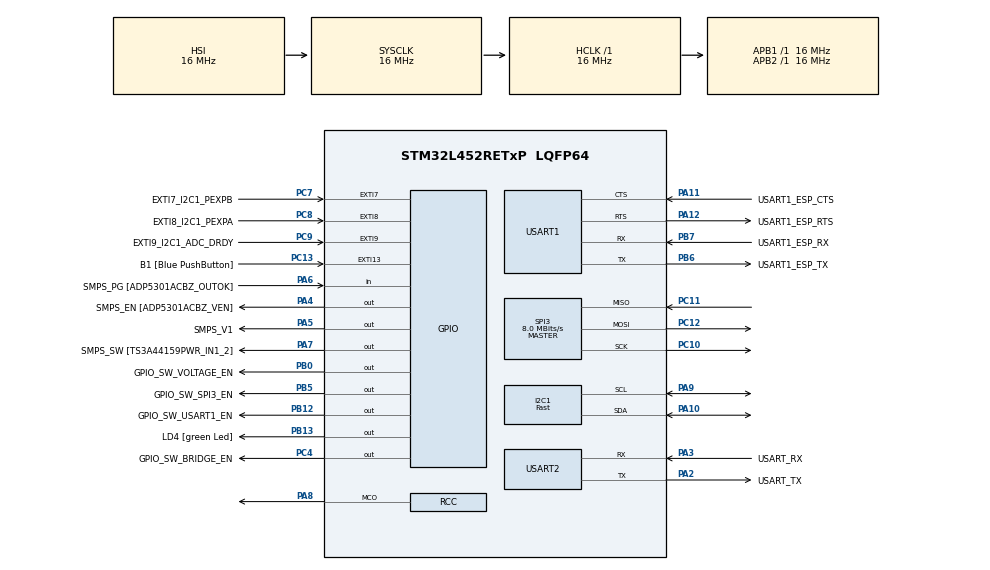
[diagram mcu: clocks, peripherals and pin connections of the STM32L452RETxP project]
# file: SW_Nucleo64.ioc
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FREERTOS.INCLUDE_uxTaskPriorityGet=0
FREERTOS.INCLUDE_vTaskDelayUntil=1
FREERTOS.INCLUDE_vTaskDelete=0
FREERTOS.Tasks01=defaultTask,0,128,StartDefaultTask,Default,NULL
FREERTOS.configENABLE_BACKWARD_COMPATIBILITY=0
FREERTOS.configMINIMAL_STACK_SIZE=256
FREERTOS.configTIMER_QUEUE_LENGTH=4
FREERTOS.configTOTAL_HEAP_SIZE=8192
FREERTOS.configUSE_IDLE_HOOK=1
FREERTOS.configUSE_TIMERS=1
I2C1.I2C_Fall_Time=10
I2C1.I2C_Rise_Time=20
I2C1.I2C_Speed_Mode=I2C_Fast
I2C1.Timing=0x0010061A
Mcu.Family=STM32L4
Mcu.Name=STM32L452RETxP
Mcu.Package=LQFP64
NVIC.I2C1_EV_IRQn=true\:5\:0\:false\:false\:true\:true\:true\:true
NVIC.PriorityGroup=NVIC_PRIORITYGROUP_4
NVIC.SPI3_IRQn=true\:5\:0\:false\:false\:true\:true\:true\:true
NVIC.TIM2_IRQn=true\:0\:0\:false\:false\:true\:false\:false\:true
NVIC.TimeBase=TIM2_IRQn
NVIC.TimeBaseIP=TIM2
NVIC.USART1_IRQn=true\:5\:0\:false\:false\:true\:true\:true\:true
NVIC.USART2_IRQn=true\:5\:0\:false\:false\:true\:true\:true\:true
PA0.GPIO_Label=REED_WKUP
PA0.Mode=SYS_WakeUp0
PA0.Signal=SYS_WKUP1
PA10.Mode=I2C
PA10.Signal=I2C1_SDA
PA11.GPIO_Label=USART1_ESP_CTS
PA11.Mode=CTS_RTS
PA11.Signal=USART1_CTS
PA12.GPIO_Label=USART1_ESP_RTS
PA12.Mode=CTS_RTS
PA12.Signal=USART1_RTS
PA13\ (JTMS/SWDIO).GPIO_Label=TMS
PA13\ (JTMS/SWDIO).Mode=Serial_Wire
PA13\ (JTMS/SWDIO).Signal=SYS_JTMS-SWDIO
PA14\ (JTCK/SWCLK).GPIO_Label=TCK
PA14\ (JTCK/SWCLK).Mode=Serial_Wire
PA14\ (JTCK/SWCLK).Signal=SYS_JTCK-SWCLK
PA2.GPIO_Label=USART_TX
PA2.GPIO_Mode=GPIO_MODE_AF_PP
PA2.GPIO_PuPd=GPIO_NOPULL
PA2.GPIO_Speed=GPIO_SPEED_FREQ_VERY_HIGH
PA2.Mode=Asynchronous
PA2.Signal=USART2_TX
PA3.GPIO_Label=USART_RX
PA3.GPIO_Mode=GPIO_MODE_AF_PP
PA3.GPIO_PuPd=GPIO_NOPULL
PA3.GPIO_Speed=GPIO_SPEED_FREQ_VERY_HIGH
PA3.Mode=Asynchronous
PA3.Signal=USART2_RX
PA4.GPIO_Label=SMPS_EN [ADP5301ACBZ_VEN]
PA4.Signal=GPIO_Output
PA5.GPIO_Label=SMPS_V1
PA5.GPIO_ModeDefaultOutputPP=GPIO_MODE_OUTPUT_PP
PA5.GPIO_PuPd=GPIO_NOPULL
PA5.GPIO_Speed=GPIO_SPEED_FREQ_LOW
PA5.Signal=GPIO_Output
PA6.GPIO_Label=SMPS_PG [ADP5301ACBZ_OUTOK]
PA6.GPIO_PuPd=GPIO_PULLUP
PA6.Signal=GPIO_Input
PA7.GPIO_Label=SMPS_SW [TS3A44159PWR_IN1_2]
PA7.Signal=GPIO_Output
PA8.Mode=Clock-out
PA8.Signal=RCC_MCO
PA9.Mode=I2C
PA9.Signal=I2C1_SCL
PB0.GPIO_Label=GPIO_SW_VOLTAGE_EN
PB0.Signal=GPIO_Output
PB12.GPIO_Label=GPIO_SW_USART1_EN
PB12.Signal=GPIO_Output
PB13.GPIO_Label=LD4 [green Led]
PB13.Signal=GPIO_Output
PB3\ (JTDO/TRACESWO).GPIO_Label=SWO
PB3\ (JTDO/TRACESWO).Signal=SYS_JTDO-SWO
PB5.GPIO_Label=GPIO_SW_SPI3_EN
PB5.Signal=GPIO_Output
PB6.GPIO_Label=USART1_ESP_TX
PB6.Mode=Asynchronous
PB6.Signal=USART1_TX
PB7.GPIO_Label=USART1_ESP_RX
PB7.Mode=Asynchronous
PB7.Signal=USART1_RX
PB8.GPIO_Label=TIM16_CH1_BUZZER
PB8.Signal=S_TIM16_CH1
PC10.Mode=Full_Duplex_Master
PC10.Signal=SPI3_SCK
PC11.Mode=Full_Duplex_Master
PC11.Signal=SPI3_MISO
PC12.Mode=Full_Duplex_Master
PC12.Signal=SPI3_MOSI
PC13.GPIO_Label=B1 [Blue PushButton]
PC13.GPIO_ModeDefaultEXTI=GPIO_MODE_IT_FALLING
PC13.GPIO_PuPd=GPIO_NOPULL
PC13.Signal=GPXTI13
PC14-OSC32_IN\ (PC14).Mode=LSE-External-Oscillator
PC14-OSC32_IN\ (PC14).Signal=RCC_OSC32_IN
PC15-OSC32_OUT\ (PC15).Mode=LSE-External-Oscillator
PC15-OSC32_OUT\ (PC15).Signal=RCC_OSC32_OUT
PC4.GPIO_Label=GPIO_SW_BRIDGE_EN
PC4.Signal=GPIO_Output
PC7.GPIO_Label=EXTI7_I2C1_PEXPB
PC7.Signal=GPXTI7
PC8.GPIO_Label=EXTI8_I2C1_PEXPA
PC8.Signal=GPXTI8
PC9.GPIO_Label=EXTI9_I2C1_ADC_DRDY
PC9.Signal=GPXTI9
PH0-OSC_IN\ (PH0).GPIO_Label=MCO
PH0-OSC_IN\ (PH0).Signal=RCC_OSC_IN
PH1-OSC_OUT\ (PH1).Signal=RCC_OSC_OUT
ProjectManager.HeapSize=0x200
ProjectManager.StackSize=0x400
ProjectManager.TargetToolchain=TrueSTUDIO
RCC.ADCFreq_Value=64000000
RCC.AHBFreq_Value=16000000
RCC.APB1Freq_Value=16000000
RCC.APB1TimFreq_Value=16000000
RCC.APB2Freq_Value=16000000
RCC.APB2TimFreq_Value=16000000
RCC.CortexFreq_Value=16000000
RCC.HCLKFreq_Value=16000000
RCC.HSE_VALUE=8000000
RCC.HSI48_VALUE=48000000
RCC.HSI_VALUE=16000000
RCC.MSI_VALUE=4000000
RCC.PLLSourceVirtual=RCC_PLLSOURCE_HSI
RCC.PREFETCH_ENABLE=1
RCC.PWR_Regulator_Voltage_Scale=PWR_REGULATOR_VOLTAGE_SCALE2
RCC.RCC_MCO1Source=RCC_MCO1SOURCE_HSI
RCC.SYSCLKFreq_VALUE=16000000
RCC.SYSCLKSource=RCC_SYSCLKSOURCE_HSI
RCC.USBFreq_Value=64000000
RCC.VCOOutputFreq_Value=128000000
SH.S_TIM16_CH1.0=TIM16_CH1
SPI3.CLKPhase=SPI_PHASE_2EDGE
SPI3.CalculateBaudRate=8.0 MBits/s
SPI3.DataSize=SPI_DATASIZE_8BIT
SPI3.Direction=SPI_DIRECTION_2LINES
SPI3.Mode=SPI_MODE_MASTER
SPI3.VirtualType=VM_MASTER
SYS.PVDLevel=PWR_PVDLEVEL_3
USART1.VirtualMode-Asynchronous=VM_ASYNC
USART2.VirtualMode-Asynchronous=VM_ASYNC
VP_FREERTOS_VS_CMSIS_V1.Mode=CMSIS_V1
VP_SYS_VS_tim2.Mode=TIM2
VP_SYS_V_PVD_IN.Mode=Mode_PVD_Int
board=NUCLEO-L452RE-P

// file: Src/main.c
/* USER CODE BEGIN Header */
/**
  ******************************************************************************
  * @file           : main.c
  * @brief          : Main program body
  ******************************************************************************
  * @attention
  *
  * <h2><center>&copy; Copyright (c) 2019 STMicroelectronics.
  * All rights reserved.</center></h2>
  *
  * This software component is licensed by ST under BSD 3-Clause license,
  * the "License"; You may not use this file except in compliance with the
  * License. You may obtain a copy of the License at:
  *                        opensource.org/licenses/BSD-3-Clause
  *
  ******************************************************************************
  */
/* USER CODE END Header */

#include "main.h"
#include "cmsis_os.h"
#include "i2c.h"
#include "spi.h"
#include "usart.h"
#include "gpio.h"

void SystemClock_Config(void);
void MX_FREERTOS_Init(void);

/* USER CODE BEGIN 0 */

#if 0
static void SystemResetbyARMcore(void)
{
  /* Set SW reset bit */
  SCB->AIRCR = 0x05FA0000UL | SCB_AIRCR_SYSRESETREQ_Msk;
}
#endif

#if 0
/* Used by the run-time stats */
void configureTimerForRunTimeStats(void)
{
  getRunTimeCounterValue();

  /* Interrupt disabled block */
  {
    __disable_irq();

    s_timerStart_us = s_timerLast_us;

    __enable_irq();
  }
}

/* Used by the run-time stats */
unsigned long getRunTimeCounterValue(void)
{
  uint64_t l_timerStart_us = 0ULL;
  uint64_t l_timer_us = HAL_GetTick() & 0x003fffffUL;                                                   // avoid overflows

  /* Add microseconds */
  l_timer_us *= 1000ULL;
  l_timer_us += TIM2->CNT % 1000UL;                                                                     // TIM2 counts microseconds

  /* Interrupt disabled block */
  {
    __disable_irq();

    s_timerLast_us  = l_timer_us;
    l_timerStart_us = s_timerStart_us;

    __enable_irq();
  }

  uint64_t l_timerDiff64 = (l_timer_us >= l_timerStart_us) ?  (l_timer_us - l_timerStart_us) : l_timer_us;
  uint32_t l_timerDiff32 = (uint32_t) (l_timerDiff64 & 0xffffffffULL);
  return l_timerDiff32;
}
#endif

/* USER CODE END 0 */

int main(void)
{

  /* MCU Configuration--------------------------------------------------------*/

  /* Reset of all peripherals, Initializes the Flash interface and the Systick. */
  HAL_Init();

  /* Configure the system clock */
  SystemClock_Config();

  /* Initialize all configured peripherals */
  MX_GPIO_Init();
  MX_USART2_UART_Init();
  MX_I2C1_Init();
  MX_SPI3_Init();
  MX_USART1_UART_Init();

  /* Call init function for freertos objects (in freertos.c) */
  MX_FREERTOS_Init();

  /* Start scheduler */
  osKernelStart();

  /* We should never get here as control is now taken by the scheduler */

  /* Infinite loop */
  while (1)
  {

  }
}

void SystemClock_Config(void)
{
  RCC_OscInitTypeDef RCC_OscInitStruct = {0};
  RCC_ClkInitTypeDef RCC_ClkInitStruct = {0};
  RCC_PeriphCLKInitTypeDef PeriphClkInit = {0};

  /** Initializes the CPU, AHB and APB busses clocks
  */
  RCC_OscInitStruct.OscillatorType = RCC_OSCILLATORTYPE_HSI;
  RCC_OscInitStruct.HSIState = RCC_HSI_ON;
  RCC_OscInitStruct.HSICalibrationValue = RCC_HSICALIBRATION_DEFAULT;
  RCC_OscInitStruct.PLL.PLLState = RCC_PLL_NONE;
  if (HAL_RCC_OscConfig(&RCC_OscInitStruct) != HAL_OK)
  {
    Error_Handler();
  }
  /** Initializes the CPU, AHB and APB busses clocks
  */
  RCC_ClkInitStruct.ClockType = RCC_CLOCKTYPE_HCLK|RCC_CLOCKTYPE_SYSCLK
                              |RCC_CLOCKTYPE_PCLK1|RCC_CLOCKTYPE_PCLK2;
  RCC_ClkInitStruct.SYSCLKSource = RCC_SYSCLKSOURCE_HSI;
  RCC_ClkInitStruct.AHBCLKDivider = RCC_SYSCLK_DIV1;
  RCC_ClkInitStruct.APB1CLKDivider = RCC_HCLK_DIV1;
  RCC_ClkInitStruct.APB2CLKDivider = RCC_HCLK_DIV1;

  if (HAL_RCC_ClockConfig(&RCC_ClkInitStruct, FLASH_LATENCY_2) != HAL_OK)
  {
    Error_Handler();
  }
  PeriphClkInit.PeriphClockSelection = RCC_PERIPHCLK_USART1|RCC_PERIPHCLK_USART2
                              |RCC_PERIPHCLK_I2C1;
  PeriphClkInit.Usart1ClockSelection = RCC_USART1CLKSOURCE_PCLK2;
  PeriphClkInit.Usart2ClockSelection = RCC_USART2CLKSOURCE_PCLK1;
  PeriphClkInit.I2c1ClockSelection = RCC_I2C1CLKSOURCE_PCLK1;
  if (HAL_RCCEx_PeriphCLKConfig(&PeriphClkInit) != HAL_OK)
  {
    Error_Handler();
  }
  HAL_RCC_MCOConfig(RCC_MCO1, RCC_MCO1SOURCE_HSI, RCC_MCODIV_1);
  /** Configure the main internal regulator output voltage
  */
  if (HAL_PWREx_ControlVoltageScaling(PWR_REGULATOR_VOLTAGE_SCALE2) != HAL_OK)
  {
    Error_Handler();
  }
}

/* USER CODE BEGIN 4 */

/* Whenever nothing is to do: do sleep */
void vApplicationIdleHook( void )
{
  /* TODO:
   * 1) Reduce 16 MHz  to  2 MHz
   * 2)  go to LPRun  (SMPS 2 High (-->  MR range 1) --> MR range 2 --> LPR
   * 3)  Go to LPSleep
   */

  /* Enter sleep mode */
  __asm volatile( "WFI" );

  /* TODO:
   * 1)  In LPRun go to 80 MHz (LPR --> MR range 2 (--> MR range 1) --> SMPS 2 High)
   * 2)  Increase 2 MHz to 80 MHz
   */

}

/* USER CODE END 4 */

void HAL_TIM_PeriodElapsedCallback(TIM_HandleTypeDef *htim)
{
  if (htim->Instance == TIM2) {
    HAL_IncTick();
  }
}

void Error_Handler(void)
{
}

/************************ (C) COPYRIGHT STMicroelectronics *****END OF FILE****/

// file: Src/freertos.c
/* USER CODE BEGIN Header */
/**
  ******************************************************************************
  * File Name          : freertos.c
  * Description        : Code for freertos applications
  ******************************************************************************
  * @attention
  *
  * <h2><center>&copy; Copyright (c) 2019 STMicroelectronics.
  * All rights reserved.</center></h2>
  *
  * This software component is licensed by ST under Ultimate Liberty license
  * SLA0044, the "License"; You may not use this file except in compliance with
  * the License. You may obtain a copy of the License at:
  *                             www.st.com/SLA0044
  *
  ******************************************************************************
  */
/* USER CODE END Header */

#include "FreeRTOS.h"
#include "task.h"
#include "main.h"
#include "cmsis_os.h"

osThreadId defaultTaskHandle;

void StartDefaultTask(void const * argument);

void MX_FREERTOS_Init(void); /* (MISRA C 2004 rule 8.1) */

/* Hook prototypes */
void vApplicationIdleHook(void);

/* USER CODE BEGIN 2 */
__weak void vApplicationIdleHook( void )
{
   /* vApplicationIdleHook() will only be called if configUSE_IDLE_HOOK is set
   to 1 in FreeRTOSConfig.h. It will be called on each iteration of the idle
   task. It is essential that code added to this hook function never attempts
   to block in any way (for example, call xQueueReceive() with a block time
   specified, or call vTaskDelay()). If the application makes use of the
   vTaskDelete() API function (as this demo application does) then it is also
   important that vApplicationIdleHook() is permitted to return to its calling
   function, because it is the responsibility of the idle task to clean up
   memory allocated by the kernel to any task that has since been deleted. */
}
/* USER CODE END 2 */

void MX_FREERTOS_Init(void) {

  /* Create the thread(s) */
  /* definition and creation of defaultTask */
  osThreadDef(defaultTask, StartDefaultTask, osPriorityNormal, 0, 128);
  defaultTaskHandle = osThreadCreate(osThread(defaultTask), NULL);

}

void StartDefaultTask(void const * argument)
{

  /* USER CODE BEGIN StartDefaultTask */
  /* Infinite loop */
  for(;;)
  {
    /* Toggle every 25ms - sleep between */
    osDelay(25);

    HAL_GPIO_TogglePin(LD4_GPIO_Port, LD4_Pin);
  }
  /* USER CODE END StartDefaultTask */
}

/************************ (C) COPYRIGHT STMicroelectronics *****END OF FILE****/
